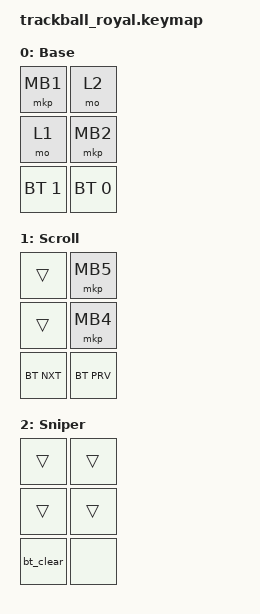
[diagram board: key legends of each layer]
#include "keys_ru.h"
#include <dt-bindings/zmk/input_transform.h>
#include <input/processors.dtsi>
#include <zephyr/dt-bindings/input/input-event-codes.h>
#include <dt-bindings/zmk/matrix_transform.h>
#include <scroll-snap.dtsi>
#include <behaviors.dtsi>
#include <dt-bindings/zmk/bt.h>
#include <dt-bindings/zmk/pointing.h>
#include "input/processors/sensor_rotation.dtsi"

/ {
    default_transform: keymap_transform_0 {
        compatible = "zmk,matrix-transform";
        columns = <2>;
        rows = <3>;
        map = <
        RC(0,3) RC(0,2)
        RC(0,0) RC(0,1)
        RC(0,5) RC(0,4)
        >;
    };

    combos {
        compatible = "zmk,combos";

        base_combo {
            bindings = <&mkp MB3>;
            key-positions = <0 1>;
        };
    };

    behaviors {
        adj1: adj1 {
            compatible = "zmk,behavior-tap-dance";
            label = "ADJ1";
            #binding-cells = <0>;
            bindings = <&bt BT_SEL 0>, <&bt BT_PRV>;
        };

        adj2: adj2 {
            compatible = "zmk,behavior-tap-dance";
            label = "ADJ2";
            #binding-cells = <0>;
            bindings = <&bt BT_SEL 1>, <&bt BT_PRV>;
        };

        bt_clear: bt_clear {
            compatible = "zmk,behavior-tap-dance";
            label = "BT_CLEAR";
            #binding-cells = <0>;
            bindings = <&bt BT_CLR>, <&bt BT_CLR_ALL>;
        };
    };

    keymap {
        compatible = "zmk,keymap";

        base {
            bindings = <
&mkp MB1      &mo 2
&mo 1         &mkp MB2
&bt BT_SEL 1  &bt BT_SEL 0
            >;

            display-name = "Base";
        };

        scroll {
            bindings = <
&trans      &mkp MB5
&trans      &mkp MB4
&bt BT_NXT  &bt BT_PRV
            >;

            display-name = "Scroll";
        };

        sniper {
            bindings = <
&trans     &trans
&trans     &trans
&bt_clear  &none
            >;

            display-name = "Sniper";
        };
    };

    input_processors {
        sensor_rotation: sensor_rotation {
            compatible = "zmk,input-processor-sensor-rotation";
            status = "okay";
            #input-processor-cells = <0>;
            rotation-angle = <5>;
        };
    };
};

&trackball { cpi = <1200>; };

&trackball_listener {
    input-processors =
        <&zip_y_scaler 1 2>,
        <&zip_x_scaler 1 1>,
        <&sensor_rotation>;

    scroller {
        layers = <1>;
        input-processors =
            <&zip_xy_transform INPUT_TRANSFORM_Y_INVERT>,
            /* <&zip_xy_transform INPUT_TRANSFORM_X_INVERT>, */
            <&zip_xy_scaler 1 32>,
            <&zip_xy_to_scroll_mapper &zip_scroll_snap>;
    };

    sniper {
        layers = <2>;
        input-processors = <&zip_xy_scaler 1 4>;
    };

    adjust {
        layers = <3>;
        input-processors = <&zip_xy_scaler 1 8>;
    };
};
